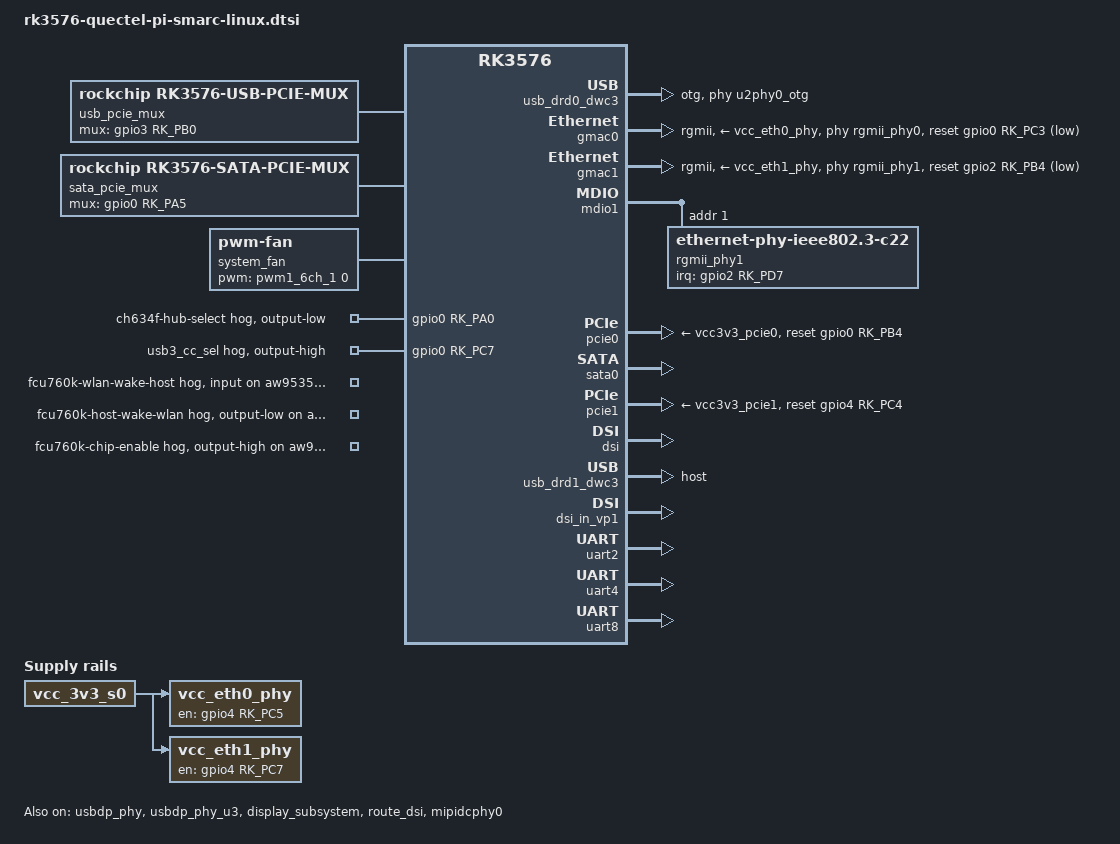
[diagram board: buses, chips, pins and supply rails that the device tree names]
// SPDX-License-Identifier: (GPL-2.0+ OR MIT)
/*
 * Linux board include wrapper for Quectel PI SMARC (SH603ZA).
 * Common hardware shared with M2 lives in rk3576-quectel-pi-common.dtsi.
 * SMARC-specific hardware (dual GMAC, MUX, PCIe1, display, etc.) lives here.
 */

#include "rk3576-quectel-pi-common.dtsi"
#include "rk3576-quectel-pi-smarc-audio.dtsi"
#include "display/dsi-panel-waveshare-8inch-c.dtsi"
#include "display/rk3576-hdmi.dtsi"
#include "usb/rk3576-usb_dp_linux.dtsi"

/* ========== SMARC Linux WiFi/BT and USB path selection ========== */

/* Disable WiFi/BT M.2 to free GPIO0_B0/B1 for USB */
&sdio_pwrseq { status = "disabled"; };
&wireless_wlan { status = "disabled"; };
&wireless_bluetooth { status = "disabled"; };
&sdio { status = "disabled"; };

&gpio0 {
	ch634f-hub-select-hog {
		gpio-hog;
		gpios = <RK_PA0 GPIO_ACTIVE_HIGH>;
		/* GPIO0_A0=0 selects the CH634F Hub path. */
		output-low;
		line-name = "ch634f-hub-select";
	};
};

&aw9535_gpio {
	fcu760k-wlan-wake-host-hog {
		gpio-hog;
		gpios = <5 GPIO_ACTIVE_LOW>;
		input;
		line-name = "fcu760k-wlan-wake-host";
	};

	fcu760k-host-wake-wlan-hog {
		gpio-hog;
		gpios = <6 GPIO_ACTIVE_LOW>;
		/* Keep the unused low-active wake request deasserted (physical high). */
		output-low;
		line-name = "fcu760k-host-wake-wlan";
	};

	fcu760k-chip-enable-hog {
		gpio-hog;
		gpios = <7 GPIO_ACTIVE_HIGH>;
		output-high;
		line-name = "fcu760k-chip-enable";
	};
};

/* Disable WiFi/BT to free GPIO0_B0/B1 */
&sdio_pwrseq { status = "disabled"; };
&wireless_wlan { status = "disabled"; };
&wireless_bluetooth { status = "disabled"; };
&sdio { status = "disabled"; };

/* USB3.0 channel: GPIO0_C7=HIGH selects CC2 */
&gpio0 {
	usb3-cc-sel-hog {
		gpio-hog;
		gpios = <RK_PC7 GPIO_ACTIVE_HIGH>;
		output-high;
		line-name = "usb3_cc_sel";
	};
};

/* USB3 PHY always on */
&usbdp_phy { status = "okay"; };
&usbdp_phy_u3 { status = "okay"; };

/* USB0: OTG + USB3, AW35616动态控制GPIO0_B1 */
&usb_drd0_dwc3 {
	dr_mode = "otg";
	maximum-speed = "super-speed";
	phys = <&u2phy0_otg>, <&usbdp_phy_u3>;
	phy-names = "usb2-phy", "usb3-phy";
};

&usbc0 {
	usb0-sel-gpios = <&gpio0 RK_PB1 GPIO_ACTIVE_HIGH>;
};

/* ========== SMARC-specific MUX nodes ========== */

/ {
	vcc_eth0_phy: vcc-eth0-phy {
		compatible = "regulator-fixed";
		regulator-name = "vcc_eth0_phy";
		enable-active-high;
		gpio = <&gpio4 RK_PC5 GPIO_ACTIVE_HIGH>;
		startup-delay-us = <10000>;
		regulator-boot-on;
		regulator-always-on;
		vin-supply = <&vcc_3v3_s0>;
	};

	vcc_eth1_phy: vcc-eth1-phy {
		compatible = "regulator-fixed";
		regulator-name = "vcc_eth1_phy";
		enable-active-high;
		gpio = <&gpio4 RK_PC7 GPIO_ACTIVE_HIGH>;
		startup-delay-us = <10000>;
		regulator-boot-on;
		regulator-always-on;
		vin-supply = <&vcc_3v3_s0>;
	};

	usb_pcie_mux: usb-pcie-mux {
		compatible = "rockchip,rk3576-usb-pcie-mux";
		mux-gpios = <&gpio3 RK_PB0 GPIO_ACTIVE_HIGH>;
		status = "okay";
	};

	sata_pcie_mux: sata-pcie-mux {
		compatible = "rockchip,rk3576-sata-pcie-mux";
		mux-gpios = <&gpio0 RK_PA5 GPIO_ACTIVE_HIGH>;
		/*
		 * Default to PCIE0: the board carries YT6801 GbE + ASM1182e + M.2-B
		 * 5G modem on PCIE0 permanently. Cold-booting into SATA mode leaves
		 * the on-board NIC and 5G modem dead, and hot-switching to PCIE0
		 * cannot bring up the 5G modem (link fails to train). SATA users
		 * switch via usb-pcie-switch.sh sata.
		 */
		rockchip,default-mode = "pcie";
		status = "okay";
	};

	system_fan: pwm-fan {
		compatible = "pwm-fan";
		#cooling-cells = <2>;
		pwms = <&pwm1_6ch_1 0 200000 0>;
		cooling-levels = <0 64 128 192 255>;
		rockchip,temp-trips = <
			30000 1
			40000 2
			50000 3
			60000 4
		>;
	};
};

/* ========== SMARC GMAC0 (snps,reset-* style) ========== */

&gmac0 {
	phy-mode = "rgmii";
	clock_in_out = "output";

	snps,reset-gpio = <&gpio0 RK_PC3 GPIO_ACTIVE_LOW>;
	snps,reset-active-low;
	snps,reset-delays-us = <0 20000 100000>;

	pinctrl-names = "default";
	pinctrl-0 = <&eth0m0_miim
		     &eth0m0_tx_bus2
		     &eth0m0_rx_bus2
		     &eth0m0_rgmii_clk
		     &eth0m0_rgmii_bus
		     &ethm0_clk0_25m_out>;

	tx_delay = <0x1a>;
	rx_delay = <0x20>;

	phy-handle = <&rgmii_phy0>;
	phy-supply = <&vcc_eth0_phy>;
	status = "okay";
};

/* ========== SMARC GMAC1 ========== */

&gmac1 {
	phy-mode = "rgmii";
	clock_in_out = "output";

	snps,reset-gpio = <&gpio2 RK_PB4 GPIO_ACTIVE_LOW>;
	snps,reset-active-low;
	snps,reset-delays-us = <0 20000 100000>;

	pinctrl-names = "default";
	pinctrl-0 = <&eth1m0_miim
		     &eth1m0_tx_bus2
		     &eth1m0_rx_bus2
		     &eth1m0_rgmii_clk
		     &eth1m0_rgmii_bus
		     &ethm0_clk1_25m_out>;

	tx_delay = <0x1a>;
	rx_delay = <0x20>;

	phy-handle = <&rgmii_phy1>;
	phy-supply = <&vcc_eth1_phy>;
	status = "okay";
};

&rgmii_phy0 {
	interrupt-parent = <&gpio3>;
	interrupts = <RK_PA3 IRQ_TYPE_LEVEL_LOW>;
};

&mdio1 {
	rgmii_phy1: phy@1 {
		compatible = "ethernet-phy-ieee802.3-c22";
		reg = <0x1>;
		clocks = <&cru REFCLKO25M_GMAC1_OUT>;
		interrupt-parent = <&gpio2>;
		interrupts = <RK_PD7 IRQ_TYPE_LEVEL_LOW>;
	};
};

/* ========== SMARC PCIe0 (Gen1 limited, mux-gated with SATA0) ========== */

&pcie0 {
	max-link-speed = <1>;
	phy-names = "pcie-phy";
	reset-gpios = <&gpio0 RK_PB4 GPIO_ACTIVE_HIGH>;
	mux-gpios = <&gpio0 RK_PA5 GPIO_ACTIVE_HIGH>;
	rockchip,mux-node = <&sata_pcie_mux>;
	rockchip,mux-skip-when-high;
	rockchip,skip-scan-in-resume;
	/*
	 * Hold PERST low for 6s before releasing. RM520N HW manual (3.4
	 * 表11) requires PERST# active (Ton) min 100ms / typ 3s for the
	 * modem's PCIe de-assert-reset init; the old 200ms default was far
	 * too short, ASM1182e port#7 trained before the modem PCIe was ready
	 * and the link stayed down 60-90s. 6s > typ 3s gives full init.
	 */
	rockchip,perst-inactive-ms = <6000>;
	pinctrl-names = "default";
	vpcie3v3-supply = <&vcc3v3_pcie0>;
	status = "okay";
};

/* ========== SMARC SATA0 (shared combphy0_ps with PCIe0, mux-gated) ========== */

&sata0 {
	mux-gpios = <&gpio0 RK_PA5 GPIO_ACTIVE_HIGH>;
	rockchip,mux-node = <&sata_pcie_mux>;
	status = "okay";
};

/* ========== SMARC PCIe1 ========== */

&pcie1 {
	mux-gpios = <&gpio3 RK_PB0 GPIO_ACTIVE_HIGH>;
	rockchip,mux-node = <&usb_pcie_mux>;
	rockchip,perst-inactive-ms = <500>;
	reset-gpios = <&gpio4 RK_PC4 GPIO_ACTIVE_HIGH>;
	vpcie3v3-supply = <&vcc3v3_pcie1>;
	status = "okay";
};

/* ========== SMARC DSI (HW default disabled) ========== */

&dsi {
	status = "disabled";
};

/* ========== SMARC USB ========== */

&usbc1 {
	status = "disabled";
	/delete-node/ port;
};

&usb_drd1_dwc3 {
	dr_mode = "host";
	/delete-property/ usb-role-switch;
	/delete-node/ port;
};

/* ========== SMARC Display ========== */

&display_subsystem {
	status = "okay";
	clocks = <&hdptxphy_hdmi>;
	clock-names = "hdmi0_phy_pll";
	memory-region = <&drm_logo>, <&drm_cubic_lut>;
	memory-region-names = "drm-logo", "drm-cubic-lut";
};

&route_dsi {
	status = "okay";
	logo,uboot = "quectel_720p.bmp";
	logo,kernel = "quectel_720p_kernel.bmp";
};

&dsi_in_vp0 {
	status = "disabled";
};

&dsi_in_vp1 {
	status = "okay";
};

&dsi_in_vp2 {
	status = "disabled";
};

&dsi_in_vopl {
	status = "disabled";
};

&mipidcphy0 {
	status = "okay";
};

&dsi {
	status = "okay";
};

&uart2 {
	status = "okay";
	dma-names = "tx", "rx";
	pinctrl-names = "default";
	pinctrl-0 = <&uart2m0_xfer>;
};

&uart4 {
	status = "okay";
	dma-names = "tx", "rx";
	pinctrl-names = "default";
	pinctrl-0 = <&uart4m1_xfer &uart4m1_ctsn &uart4m1_rtsn>;
};

&uart8 {
	status = "okay";
	dma-names = "tx", "rx";
	pinctrl-names = "default";
	pinctrl-0 = <&uart8m1_xfer &uart8m1_ctsn &uart8m1_rtsn>;
};
